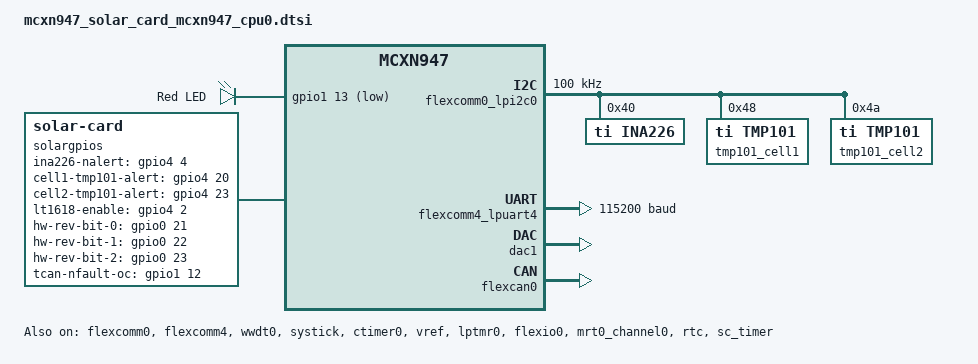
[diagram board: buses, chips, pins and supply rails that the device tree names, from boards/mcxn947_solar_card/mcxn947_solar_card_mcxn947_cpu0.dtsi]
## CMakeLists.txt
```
# SPDX-License-Identifier: Apache-2.0

cmake_minimum_required(VERSION 3.20.0)

list(APPEND BOARD_ROOT ${CMAKE_CURRENT_SOURCE_DIR})
set(BOARD "mcxn947_solar_card/mcxn947/cpu0")

set(VERSION_MAJOR "1")
set(VERSION_MINOR "0")
set(PATCHLEVEL "1")
set(VERSION_TWEAK "0")
set(EXTRAVERSION "00000000")

# force creation of new file each time when 'west build -p always' is done
file(REMOVE "${CMAKE_SOURCE_DIR}/VERSION")

find_package(Git QUIET REQUIRED)

execute_process(
    COMMAND "${GIT_EXECUTABLE}" rev-parse --short HEAD
    WORKING_DIRECTORY "${CMAKE_SOURCE_DIR}"
    RESULT_VARIABLE res
    OUTPUT_VARIABLE EXTRAVERSION
    ERROR_QUIET
    OUTPUT_STRIP_TRAILING_WHITESPACE)

set_property(GLOBAL APPEND
    PROPERTY CMAKE_CONFIGURE_DEPENDS
    "${CMAKE_SOURCE_DIR}/.git/index")

set(BOARD_FLASH_RUNNER "probe-rs")
set(BOARD_DEBUG_RUNNER "probe-rs")

#
# utilize settings to autogenerate a header file to adjust the build inside the C code
#
configure_file (
   "${CMAKE_SOURCE_DIR}/src/VERSION.in"
   "${CMAKE_SOURCE_DIR}/VERSION"
   )

find_package(Zephyr REQUIRED HINTS $ENV{ZEPHYR_BASE})

project(oresat_mcxn947_solar)

include_directories("${PROJECT_SOURCE_DIR}") # needed so c code can find this header

target_sources(app PRIVATE src/main.c src/gpios.c drivers/sensor/ti/tmp101/tmp101.c)

# Compile in various files depending on Kconfig values.
target_sources_ifdef(CONFIG_BLINK        app PRIVATE src/blink.c)
#target_sources_ifdef(CONFIG_I2C_SENSORS app PRIVATE src/i2c_sensor.c)
#target_sources_ifdef(CONFIG_DAC         app PRIVATE src/dac.c)
target_sources_ifdef(CONFIG_SOLAR        app PRIVATE src/solar.c)
target_sources_ifdef(CONFIG_CAN_INTF     app PRIVATE src/can.c)
target_sources_ifdef(CONFIG_CAN_INTF     app PRIVATE src/can_util.c)
target_sources_ifdef(CONFIG_CAN_INTF     app PRIVATE objdict/CO_OD.c)
zephyr_include_directories(objdict)
```

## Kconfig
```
# Copyright (c) 2024 Centro de Inovacao EDGE.
# SPDX-License-Identifier: Apache-2.0

menu "Oresat MCXN947 Solar Card"

config BLINK
	bool "Blink an LED"
	default y
	help
	  Enable the thread which blinks an LED.

config I2C_SENSORS
	bool "Enable monitoring I2C sensors"
	default y
	help
	  Enable reading from the ina226

config DAC_LT1618
	bool "Enable control of LT1618 sensor iADJ."
	default y
	help
	  Enable adjustable current control.

config SOLAR
	bool "Enable Solar Power Point Tracking"
	default y
	help
	  Enable the Maximum Power Point Tracking Algorithm.

if SOLAR

	config CHARACTERIZATION_SWEEP
		bool "Enable Solar Power Characterization Sweep"
		default n
		help
		  Interactively determine tracking constants in the lab.

endif

config CAN_INTF
	bool "Enable sending CAN packets."
	default y
	select CAN
	select CANOPENNODE
	select USE_STM32_HAL_FLASH if SOC_STM32F091XC
	select USE_STM32_HAL_FLASH_EX if SOC_STM32F091XC
	select USE_STM32_HAL_CAN if SOC_STM32F091XC
	help
	  Enable CAN interface and send data from CO_OD.

	if CAN_INTF && !SOC_STM32F091XC

		config MCUBOOT_ALLOWED
			bool "MCUboot allowed."
			default y
			select BOOTLOADER_MCUBOOT
			select MCUBOOT_GENERATE_UNSIGNED_IMAGE
			select FLASH
			select FLASH_MAP
			select STREAM_FLASH
			select IMG_MANAGER
			select MCUBOOT_GENERATE_CONFIRMED_IMAGE
			select CANOPENNODE_PROGRAM_DOWNLOAD
			help
			  Define helper symbol CONFIG_MCUBOOT_ALLOWED for all supported
			  architectures that have room for the required partitions in flash
			  and have those partitions defined in the device tree. This
			  eliminates the need for the user to either change prj.conf to
			  enable MCUBOOT or provide an EXTRA_CONF_FILE option to west that
			  names an overlay file.

		config CAN_ID_MUST_BE_SET
			bool "Do not contine if CAN node id not set."
			default y
			help
			  If enabled, do not perform normal functions if CAN node id
			  is not stored in settings.

	endif


endmenu

source "Kconfig.zephyr"
```

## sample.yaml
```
sample:
  name: Oresat Solar Card App
tests:
  apps.solar:
    tags:
      - LED
      - gpio
    filter: dt_enabled_alias_with_parent_compat("led0", "gpio-leds")
    depends_on: gpio
    harness: led
    integration_platforms:
      - frdm_k64f
```

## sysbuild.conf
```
SB_CONFIG_BOOTLOADER_MCUBOOT=y
SB_CONFIG_BOOT_SIGNATURE_TYPE_NONE=y
```

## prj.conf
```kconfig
CONFIG_GPIO=y
CONFIG_CONSOLE=y
CONFIG_UART_CONSOLE=y
CONFIG_STDOUT_CONSOLE=y
CONFIG_ORESAT_COMMON_LIB=y
CONFIG_BUILD_OUTPUT_HEX=y

CONFIG_SYSTEM_WORKQUEUE_STACK_SIZE=2048
CONFIG_MAIN_STACK_SIZE=2048
CONFIG_HEAP_MEM_POOL_SIZE=4096

CONFIG_HWINFO=y
CONFIG_I2C=y
CONFIG_SENSOR=y
CONFIG_SENSOR_ASYNC_API=y
CONFIG_I2C_SENSORS=y
CONFIG_I2C_MCUX_LPI2C_BUS_RECOVERY=y

CONFIG_DAC=y
CONFIG_DAC_LT1618=y

CONFIG_SOLAR=y

CONFIG_CHARACTERIZATION_SWEEP=n #for devel only! not flight!

# enable CAN data interface
CONFIG_CAN_INTF=y
CONFIG_CANOPENNODE_SDO_BUFFER_SIZE=889
CONFIG_CAN_DEFAULT_BITRATE=1000000
CONFIG_CANOPENNODE_SYNC_THREAD=n

# enable boot loader
CONFIG_MCUBOOT_ALLOWED=y

CONFIG_LOG=y
CONFIG_LOG_MODE_DEFERRED=y
CONFIG_LOG_MODE_IMMEDIATE=n
CONFIG_LOG_BUFFER_SIZE=20480
CONFIG_LOG_PRINTK=n
CONFIG_CBPRINTF_FP_SUPPORT=y

CONFIG_LOG_DEFAULT_LEVEL=3
CONFIG_SENSOR_LOG_LEVEL_INF=y
#CONFIG_KERNEL_LOG_LEVEL_INF=y
#CONFIG_DAC_LOG_LEVEL_INF=y
CONFIG_CANOPEN_LOG_LEVEL_ERR=y
CONFIG_CAN_LOG_LEVEL_ERR=y

CONFIG_ASSERT=y

CONFIG_DEVICE_DT_METADATA=y
CONFIG_REBOOT=y

# changes for settings
CONFIG_FLASH=y
CONFIG_FLASH_MAP=y
CONFIG_SETTINGS=y
CONFIG_SETTINGS_RUNTIME=y
CONFIG_NVS=y
CONFIG_SETTINGS_NVS=y
CONFIG_MPU_ALLOW_FLASH_WRITE=y

# NOTE: to set the card's CAN ID, use overlay_shell.conf

# enforce can ID cannot be default (use shell)
CONFIG_CAN_ID_MUST_BE_SET=n

CONFIG_I2C_SENSORS=n
#CONFIG_SHELL=y
#CONFIG_I2C_SHELL=y
```

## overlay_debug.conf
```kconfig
CONFIG_REBOOT=y
CONFIG_ASSERT=n
CONFIG_DEBUG=y

# deferred logging ensures logging has minimal affect on real-time
# responsiveness, but it consumes a lot of RAM and can easily lose
# log messages when debug logging is enabled
CONFIG_LOG_MODE_DEFERRED=n
CONFIG_LOG_MODE_IMMEDIATE=y

CONFIG_I2C_LOG_LEVEL_INF=y
CONFIG_SENSOR_LOG_LEVEL_INF=y
CONFIG_KERNEL_LOG_LEVEL_INF=y
#CONFIG_CANOPEN_LOG_LEVEL_DBG=y
#CONFIG_CAN_LOG_LEVEL_DBG=y

CONFIG_APPLICATION_INIT_PRIORITY=91
CONFIG_DEBUG_THREAD_INFO=y
CONFIG_THREAD_RUNTIME_STATS=y
CONFIG_DEBUG_OPTIMIZATIONS=y
CONFIG_COVERAGE=n

CONFIG_THREAD_ANALYZER=y
CONFIG_THREAD_ANALYZER_USE_PRINTK=y
CONFIG_THREAD_ANALYZER_AUTO=y
CONFIG_THREAD_ANALYZER_AUTO_INTERVAL=300

CONFIG_INIT_STACKS=y
CONFIG_STACK_SENTINEL=y
CONFIG_STACK_CANARIES=y
#CONFIG_HW_STACK_PROTECTION=y

CONFIG_TEST_RANDOM_GENERATOR=y

CONFIG_DEBUG_THREAD_INFO=y
CONFIG_THREAD_RUNTIME_STATS=y
CONFIG_DEBUG_OPTIMIZATIONS=y
CONFIG_COVERAGE=n

#CONFIG_DEBUG_COREDUMP=y
#CONFIG_DEBUG_COREDUMP_BACKEND_LOGGING=y
#CONFIG_DEBUG_COREDUMP_LOG_LEVEL_DBG=y
#CONFIG_DEBUG_COREDUMP_MEMORY_DUMP_THREADS=y
CONFIG_FAULT_DUMP=1
```

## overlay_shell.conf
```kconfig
# This is a special configuration to allow the shell to run in the serial terminal
# interface. It allows setting the CAN nodeid, for example.
# Build instructions:
#   west build -p -- -DEXTRA_CONF_FILE=overlay_shell.conf

CONFIG_LOG_MODE_DEFERRED=y
CONFIG_LOG_MODE_IMMEDIATE=n
CONFIG_LOG_BUFFER_SIZE=20480

CONFIG_SHELL=y
CONFIG_SHELL_LOG_BACKEND=y

# enable this to add i2c interface scanning, for example
#CONFIG_I2C_SHELL=y
```

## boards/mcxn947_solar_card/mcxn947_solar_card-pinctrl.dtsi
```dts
/*
 * Copyright 2024 NXP
 * SPDX-License-Identifier: Apache-2.0
 */


#include <nxp/mcx/MCXN947VNL-pinctrl.h>

&pinctrl {
	pinmux_flexcomm0_lpi2c: pinmux_flexcomm0_lpi2c {
		group0 {
			pinmux = <FC0_P0_PIO0_16>,
				<FC0_P1_PIO0_17>;
			slew-rate = "fast";
			drive-strength = "low";
			input-enable;
			bias-pull-up;
			drive-open-drain;
		};
	};

	pinmux_flexcomm4_lpuart: pinmux_flexcomm4_lpuart {
		group0 {
			pinmux = <FC4_P0_PIO1_8>,
				<FC4_P1_PIO1_9>;
			slew-rate = "fast";
			bias-pull-up;
			drive-strength = "low";
			input-enable;
		};
	};

	pinmux_dac1: pinmux_dac1 {
		group0 {
			pinmux = <DAC1_OUT_PIO4_3>;
			drive-strength = "low";
			slew-rate = "fast";
		};
	};

	pinmux_flexcan0: pinmux_flexcan0 {
		group0 {
			pinmux = <CAN0_TXD_PIO1_10>,
				<CAN0_RXD_PIO1_11>;
			slew-rate = "fast";
			drive-strength = "low";
			input-enable;
		};
	};

	pinmux_sctimer: pinmux_sctimer {
		group0 {
			pinmux = <SCT0_OUT0_PIO2_2>;
			slew-rate = "fast";
			drive-strength = "low";
			input-enable;
		};
	};
};
```

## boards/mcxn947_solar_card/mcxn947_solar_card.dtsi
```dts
/*
 * Copyright 2024 NXP
 *
 * SPDX-License-Identifier: Apache-2.0
 */

#include "mcxn947_solar_card-pinctrl.dtsi"
#include <zephyr/dt-bindings/i2c/i2c.h>
#include <zephyr/dt-bindings/input/input-event-codes.h>


/ {
	aliases{
		led0 = &red_led;
	};

	leds {
		compatible = "gpio-leds";
		red_led: led_1 {
			gpios = <&gpio1 13 GPIO_ACTIVE_LOW>;
			label = "Red LED";
			status = "okay";
		};
	};

	gpio_keys {
		compatible = "gpio-keys";
		user_button_2: button_0 {
			label = "User SW2";
			gpios = <&gpio0 23 (GPIO_ACTIVE_LOW | GPIO_PULL_UP)>;
			zephyr,code = <INPUT_KEY_0>;
			status = "disabled";
		};
		user_button_3: button_1 {
			label = "User SW3";
			gpios = <&gpio0 6 (GPIO_ACTIVE_LOW | GPIO_PULL_UP)>;
			zephyr,code = <INPUT_KEY_1>;
			status = "disabled";
		};
	};
};

&flexcomm1_lpspi1 {
	pinctrl-0 = <&pinmux_flexcomm1_lpspi>;
	pinctrl-names = "default";
	status = "disabled";
};

&flexcomm2_lpuart2 {
	current-speed = <115200>;
	pinctrl-0 = <&pinmux_flexcomm2_lpuart>;
	pinctrl-names = "default";
	status = "disabled";
};

&flexcomm0_lpi2c0 {
	pinctrl-0 = <&pinmux_flexcomm0_lpi2c>;
	pinctrl-names = "default";
	clock-frequency = <I2C_BITRATE_STANDARD>;
	status = "okay";

	ina226: ina226@40 {
		compatible = "ti,ina226";
		reg = <0x40>;
        operating-mode = "Shunt and Bus, Continuous";
		current-lsb-microamps = <20>; //pulled from chibios app
		rshunt-micro-ohms = <100000>;
		status = "okay";
	};
	tmp101_cell1: tmp108@48 {
		compatible = "ti,tmp108";
		reg = <0x48>;
		status = "okay";
	};
	tmp101_cell2: tmp108@4a {
		compatible = "ti,tmp108";
		reg = <0x4a>;
		status = "okay";
	};
};

&flexcomm4_lpuart4 {
	current-speed = <115200>;
	pinctrl-0 = <&pinmux_flexcomm4_lpuart>;
	pinctrl-names = "default";
	status = "okay";
};

/* SmartDMA is used for video driver on this board */
&smartdma {
	/* Shields do not enable video-sdma parent node so enable it by default */
	program-mem = <0x4000000>;
	status = "disabled";

	video_sdma: video-sdma {
		compatible = "nxp,video-smartdma";
		pinctrl-0 = <&pinmux_smartdma_camera>;
		pinctrl-names = "default";
		vsync-pin = <4>;
		hsync-pin = <11>;
		pclk-pin = <5>;
		status = "disabled";
	};
};

/*
 * MCXN947 board uses OS timer as the kernel timer
 * In case we need to switch to SYSTICK timer, then
 * replace &os_timer with &systick
 */
&os_timer {
	status = "disabled";
};

&systick {
	status = "okay";
};

&sram {
	sramg: memory@20050000 {
		compatible = "mmio-sram";
		reg = <0x20050000 DT_SIZE_K(64)>;
	};
	sramh: memory@20060000 {
		compatible = "mmio-sram";
		reg = <0x20060000 DT_SIZE_K(32)>;
	};
};

&flash {
	partitions {
		compatible = "fixed-partitions";
		#address-cells = <1>;
		#size-cells = <1>;

		/*
		 * Partition sizes must be aligned
		 * to the flash memory sector size of 8KB.
		 */
		boot_partition: partition@0 {
			label = "mcuboot";
			reg = <0x00000000 DT_SIZE_K(80)>;
		};
		slot0_partition: partition@14000 {
			label = "image-0";
			reg = <0x00014000 DT_SIZE_K(984)>;
		};
		slot1_partition: partition@10A000 {
			label = "image-1";
			reg = <0x0010A000 DT_SIZE_K(984)>;
		};
		/* storage_partition is placed in WINBOND flash memory*/
	};
};

&flexspi {
	pinctrl-0 = <&pinmux_flexspi>;
	pinctrl-names = "default";
	ahb-prefetch;
	ahb-bufferable;
	ahb-cacheable;
	ahb-read-addr-opt;
	combination-mode;
	rx-clock-source = <1>;
	status = "disabled";
};

&dac0 {
	pinctrl-0 = <&pinmux_dac0>;
	pinctrl-names = "default";
};

&dac1 {
	pinctrl-0 = <&pinmux_dac1>;
	pinctrl-names = "default";
};

&sai1 {
	pinctrl-0 = <&pinmux_sai1>;
	pinctrl-names = "default";
};

&sai0 {
	pinctrl-0 = <&pinmux_sai0>;
	pinctrl-names = "default";
};

&enet {
	pinctrl-0 = <&pinmux_enet_qos>;
	pinctrl-names = "default";
};

&enet_mac {
	phy-connection-type = "rmii";
	zephyr,random-mac-address;
	phy-handle = <&phy>;
};

&enet_mdio {
	phy: ethernet-phy@0 {
		compatible = "ethernet-phy";
		reg = <0>;
		status = "disabled";
	};
};

&flexpwm1_pwm0 {
	pinctrl-0 = <&pinmux_flexpwm1_pwm0>;
	pinctrl-names = "default";
};

&usdhc0 {
	pinctrl-0 = <&pinmux_usdhc0>;
	pinctrl-1 = <&pinmux_usdhc0>;
	pinctrl-2 = <&pinmux_usdhc0>;
	cd-gpios = <&gpio2 1 GPIO_ACTIVE_LOW>;
	pinctrl-names = "default", "slow", "med";
	no-1-8-v;
};

&lpadc0 {
	pinctrl-0 = <&pinmux_lpadc0>;
	pinctrl-names = "default";
	status = "disabled";
};

zephyr_mipi_dbi_parallel: &flexio0_lcd {
	/* DMA channels 0, muxed to FlexIO TX */
	dmas = <&edma0 0 61>;
	dma-names = "tx";
	shifters-count = <8>;
	timers-count = <1>;
	enwr-pin = <1>;
	rd-pin = <0>;
	data-pin-start = <16>;
	reset-gpios = <&gpio4 7 GPIO_ACTIVE_HIGH>;
	cs-gpios = <&gpio0 12 GPIO_ACTIVE_HIGH>;
	rs-gpios = <&gpio0 7 GPIO_ACTIVE_HIGH>;
	pinctrl-0 = <&pinmux_flexio_lcd>;
	pinctrl-names = "default";
	status = "disabled";
};

&lpcmp0 {
	pinctrl-0 = <&pinmux_lpcmp0>;
	pinctrl-names = "default";
};

&i3c1 {
	pinctrl-0 = <&pinmux_i3c1>;
	pinctrl-names = "default";
	status = "disabled";
};

&flexcan0 {
	pinctrl-0 = <&pinmux_flexcan0>;
	pinctrl-names = "default";
};

&sc_timer {
	pinctrl-0 = <&pinmux_sctimer>;
	pinctrl-names = "default";
};

dvp_20pin_interface: &video_sdma {
	status = "disabled";
};
```

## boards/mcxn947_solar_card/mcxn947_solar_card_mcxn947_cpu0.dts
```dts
/dts-v1/;

#include "mcxn947_solar_card_mcxn947_cpu0.dtsi"
#include "mcxn947_solar_card-pinctrl.dtsi"

/ {
	model = "NXP MCXN947 solar card";
	compatible = "nxp,mcxn947", "nxp,mcx";
};
```

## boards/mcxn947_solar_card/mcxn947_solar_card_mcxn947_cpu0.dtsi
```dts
/*
 * Copyright 2024 NXP
 *
 * SPDX-License-Identifier: Apache-2.0
 */

/* Common dts file to enable supported features for CPU 0.
 * This file is included by both the default variant
 * which is run from internal flash and the QSPI variant.
 */
/dts-v1/;

#include <nxp/mcx/nxp_mcxn94x.dtsi>
#include <zephyr/dt-bindings/i2c/i2c.h>
#include <zephyr/dt-bindings/gpio/gpio.h>

/ {
	cpus {
		/delete-node/ cpu@1;
	};

	chosen {
		zephyr,sram = &sram0;
		zephyr,flash = &flash;
		zephyr,flash-controller = &fmu;
		zephyr,code-partition = &slot0_partition;
		zephyr,uart-mcumgr = &flexcomm4_lpuart4;
		zephyr,console = &flexcomm4_lpuart4;
		zephyr,shell-uart = &flexcomm4_lpuart4;
		zephyr,canbus = &flexcan0;
		zephyr,code-cpu1-partition = &slot1_partition;
	};

	aliases{
		led0 = &red_led;
		watchdog0 = &wwdt0;
		rtc = &rtc;
	};

	leds {
		compatible = "gpio-leds";
		red_led: led_1 {
			gpios = <&gpio1 13 GPIO_ACTIVE_LOW>;
			label = "Red LED";
			status = "okay";
		};
	};

	solargpios: solar-gpios {
		compatible = "solar-card";
		ina226-nalert-gpios = <&gpio4 4 0>;
		cell1-tmp101-alert-gpios = <&gpio4 20 0>;
		cell2-tmp101-alert-gpios = <&gpio4 23 0>;
		lt1618-enable-gpios = <&gpio4 2 GPIO_ACTIVE_HIGH>;

		hw-rev-bit-0-gpios = <&gpio0 21 0>; /* in -- enable pull up in init code */
		hw-rev-bit-1-gpios = <&gpio0 22 0>; /* in -- enable pull up in init code */
		hw-rev-bit-2-gpios = <&gpio0 23 0>; /* in -- enable pull up in init code */
		tcan-nfault-oc-gpios = <&gpio1 12 0>; /* in; only on board v1.3 */
		tcan-shdn-gpios = <&gpio1 12 0>; /* in; only on board v1.2 */
		tcan-silent-gpios = <&gpio1 14 0>;	  /* out; only on board v1.2+ */
	};

	zephyr,user {
		dac1 = <&dac1>;
		dac-channel-id = <0>;
		dac-resolution = <12>;
		status = "okay";
	};
};

&flexcomm0 {
	status = "okay";
};

&flexcomm0_lpi2c0 {
	pinctrl-0 = <&pinmux_flexcomm0_lpi2c>;
	pinctrl-names = "default";
	clock-frequency = <I2C_BITRATE_STANDARD>;
	status = "okay";

	ina226: ina226@40 {
		compatible = "ti,ina226";
		reg = <0x40>;
		operating-mode = "Shunt and Bus, Continuous";
		current-lsb-microamps = <20>; //pulled from chibios app
		rshunt-micro-ohms = <100000>;
        vbus-conversion-time-us = <588>;
        vshunt-conversion-time-us = <588>;
        avg-count = <1>;
		status = "okay";
	};
	tmp101_cell1: tmp101@48 {
		compatible = "ti,tmp101";
		reg = <0x48>;
		status = "okay";
	};
	tmp101_cell2: tmp101@4a {
		compatible = "ti,tmp101";
		reg = <0x4a>;
		status = "okay";
	};
};

&flexcomm4 {
	status = "okay";
};

&flexcomm4_lpuart4 {
	current-speed = <115200>;
	pinctrl-0 = <&pinmux_flexcomm4_lpuart>;
	pinctrl-names = "default";
	status = "okay";
};

&dac1 {
	pinctrl-0 = <&pinmux_dac1>;
	pinctrl-names = "default";
	status = "okay";
};

&flexcan0 {
	pinctrl-0 = <&pinmux_flexcan0>;
	pinctrl-names = "default";
	status = "okay";
};

/*
 * Default for this board is to allocate SRAM0-5 to cpu0 but the
 * application can have an application specific device tree to
 * allocate the SRAM0-7 differently.
 *
 * For example, SRAM0-6 could be allocated to cpu0 with only SRAM7
 * for cpu1. This would require the value of sram0 to have a DT_SIZE_K
 * of 384. You would have to make updates to cpu1 sram settings as well.
 */
&sram0 {
	compatible = "mmio-sram";
	reg = <0x20000000 DT_SIZE_K(320)>;
};

&sram {
	sramg: memory@20050000 {
		compatible = "mmio-sram";
		reg = <0x20050000 DT_SIZE_K(64)>;
	};
	sramh: memory@20060000 {
		compatible = "mmio-sram";
		reg = <0x20060000 DT_SIZE_K(32)>;
	};
};

&flash {
	partitions {
		compatible = "fixed-partitions";
		#address-cells = <1>;
		#size-cells = <1>;

		/*
		 * Partition sizes must be aligned
		 * to the flash memory sector size of 8KB.
		 */
		boot_partition: partition@0 {
			label = "mcuboot";
			reg = <0x00000000 DT_SIZE_K(80)>;
		};
		slot0_partition: partition@14000 {
			label = "image-0";
			reg = <0x00014000 DT_SIZE_K(968)>;
		};
		slot1_partition: partition@10A000 {
			label = "image-1";
			reg = <0x0010A000 DT_SIZE_K(968)>;
		};
		storage_partition: partition@1fc000 {
			label = "storage";
			reg = <0x001fc000 DT_SIZE_K(16)>;
		};
	};
};

&mbox {
	status = "okay";
};

&gpio4 {
	status = "okay";
};

&gpio1 {
	status = "okay";
};

&gpio0 {
	status = "okay";
};

&gpio2 {
	status = "okay";
};

&edma0 {
	status = "okay";
};

&wwdt0 {
	status = "okay";
};

&systick {
	status = "okay";
};

&ctimer0 {
	status = "okay";
};

&vref {
	status = "okay";
};

&lptmr0 {
	status = "okay";
};

&flexio0 {
	status = "okay";
};

&mrt0_channel0 {
	status = "okay";
};

&rtc {
	status = "okay";
};

&sc_timer {
	pinctrl-0 = <&pinmux_sctimer>;
	pinctrl-names = "default";
	status = "okay";
};

&enet {
	status = "disabled";
};
```

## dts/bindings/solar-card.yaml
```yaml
# Oresat solar card

description: Oresat solar card

compatible: "solar-card"

properties:
  ina226-nalert-gpios:
    type: phandle-array
    required: true
    description: Input of active low alert from INA226 device.

  cell1-tmp101-alert-gpios:
    type: phandle-array
    required: true
    description: Input of active low alert from cell1 tmp101 device.

  cell2-tmp101-alert-gpios:
    type: phandle-array
    required: true
    description: Input of active low alert from cell2 tmp101 device.

  lt1618-enable-gpios:
    type: phandle-array
    required: true
    description: Output to enable the LT1618 device.

  hw-rev-bit-0-gpios:
    type: phandle-array
    required: true
    description: GPIO input or output.

  hw-rev-bit-1-gpios:
    type: phandle-array
    required: true
    description: GPIO input or output.

  hw-rev-bit-2-gpios:
    type: phandle-array
    required: true
    description: GPIO input or output.

  tcan-nfault-oc-gpios:
    type: phandle-array
    required: true
    description: GPIO input or output.

  tcan-shdn-gpios:
    type: phandle-array
    required: true
    description: GPIO input or output.

  tcan-silent-gpios:
    type: phandle-array
    required: true
    description: GPIO input or output.
```

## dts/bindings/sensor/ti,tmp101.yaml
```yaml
# Based on zephyr/drivers/sensor/ti/tmp108/Kconfig, originally liscenced under Apache-2.0

description: |
    TMP101 Digital Temperature Sensor.  See more info at
    https://www.ti.com/product/TMP101

compatible: "ti,tmp101"

include: [sensor-device.yaml, i2c-device.yaml]

properties:
  alert-gpios:
    type: phandle-array
    description: |
      Identifies the ALERT signal produced by the sensor. 
      The ALERT signal's polarity is dependent on the sensor's config.
```

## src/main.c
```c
/**
 * main.c
 *
 * Simple main that only logs a bootup message. The remainder
 * of the demos are implemented as independent threads
 * in blink.c, dac.c, i2c_sensor.c, and adc.c.
 *
 * These can be disabled at compile time by adding:
 *   CONFIG_BLINK=n
 * for example, to prj.conf. See Kconfig for the options or run
 * west build -t menuconfig for an interacive configuration
 * editor.
 */

#include <zephyr/kernel.h>
#include <zephyr/drivers/hwinfo.h>
#include <zephyr/logging/log.h>
#include <version.h>
#include <app_version.h>

LOG_MODULE_REGISTER(oresat_mcxn947_solar, CONFIG_LOG_DEFAULT_LEVEL);

/** Dump Hardware Info
 *    Show the unique processor id and the reason for reset.
 *
 *    This requires:
 *    #include <zephyr/drivers/hwinfo.h>
 *    prj.conf:
 *    CONFIG_HWINFO=y
 *    Names of reset cause bits defined in same header; e.g.
 *    RESET_POR
 **/
static void dump_hwinfo(void)
{
	uint8_t hwid[32] = {0};
	uint32_t reset_cause;
	int reset_cause_ret;
	int hwid_len;

	hwid_len = hwinfo_get_device_id(hwid,sizeof(hwid)); // returns size of the device id
	reset_cause_ret = hwinfo_get_reset_cause(&reset_cause);
	if (!reset_cause_ret) {
		hwinfo_clear_reset_cause();
	}

	if (hwid_len < 0) {
		LOG_ERR("    Chip     HWID: UNNKOWN (%d", hwid_len);
	} else {
		LOG_HEXDUMP_INF(hwid, hwid_len, "    Chip     HWID: ");
	}
	if (reset_cause_ret < 0) {
		LOG_ERR("      Reset Cause: UNKNOWN (%d)", reset_cause_ret);
	} else {
		LOG_INF("      Reset Cause: 0x%08x", reset_cause);
	}
}

int main(void)
{
	LOG_INF("Oresat MCXN947 Solar Board App");
	LOG_INF("   Oresat   Board: %s", CONFIG_BOARD_TARGET);
	dump_hwinfo();
	LOG_INF("   App    Version: %s", APP_VERSION_STRING);
	LOG_INF("   Zephyr Version: %s", KERNEL_VERSION_STRING);

	return 0;
}
```

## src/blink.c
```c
/**
 * blink.c
 *
 * Code came from https://github.com/Blen-E/pracblink, which
 * originally from zephyr/samples/basic/blinky.
 *
 * Modified slightly to run as a thread and use logging.
 */
#include <stdio.h>
#include <zephyr/kernel.h>
#include <zephyr/drivers/gpio.h>
#include <zephyr/sys/printk.h>
#include <zephyr/sys/__assert.h>

#include <zephyr/device.h>
#include <zephyr/devicetree.h>
#include <zephyr/logging/log.h>

LOG_MODULE_REGISTER(oresat_blink, LOG_LEVEL_INF);

/* size of stack area used by each thread */
#define STACKSIZE 1024

/* scheduling priority used by each thread */
#define PRIORITY 7

/* 1000 msec = 1 sec */
#define LED_SLEEP_TIME_MS   1000

/* The devicetree node identifier for the "led0" alias. */
#define LED0_NODE DT_ALIAS(led0)

static int handle_blink(void)
{
	int ret;
	const struct gpio_dt_spec led = GPIO_DT_SPEC_GET(LED0_NODE, gpios);

	LOG_INF("Starting blink demo");

	/* Can we use the LED? */
	if (!device_is_ready(led.port)) {
		LOG_ERR("LED device is not ready");
		return -1;
	}

	/* Set it up */
	ret = gpio_pin_configure_dt(&led, GPIO_OUTPUT_ACTIVE);
	if (ret < 0) {
		LOG_ERR("Could not configure the LED GPIO pin: %d", ret);
		return ret;
	}

	/* Thread loop */
	while (1) {
		gpio_pin_toggle_dt(&led);
		LOG_DBG("The light is blinking!");
		k_msleep(LED_SLEEP_TIME_MS);
	}
	return 0;
}

K_THREAD_DEFINE(blink_id, STACKSIZE, handle_blink, NULL, NULL, NULL, PRIORITY, 0, 0);
```

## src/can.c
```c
#include <zephyr/kernel.h>
#include <zephyr/device.h>
#include <zephyr/sys/reboot.h>
#include <zephyr/sys/printk.h>
#include <zephyr/drivers/gpio.h>
#include <zephyr/dfu/mcuboot.h>
#include <zephyr/settings/settings.h>
#include <zephyr/logging/log.h>
#include <canopennode.h>
#include <CO_OD.h>
#include <oresat.h>

#include "can_util.h"
#include "gpios.h"

LOG_MODULE_REGISTER(can_thread, LOG_LEVEL_INF);

#define CAN_INTERFACE (DEVICE_DT_GET(DT_CHOSEN(zephyr_canbus)))
#define CAN_BITRATE (DT_PROP_OR(DT_CHOSEN(zephyr_canbus), bitrate, \
					 DT_PROP_OR(DT_CHOSEN(zephyr_canbus), bus_speed, \
								CONFIG_CAN_DEFAULT_BITRATE) / 1000))

#define CAN_THREAD_STACK_SIZE 2048
#define CAN_THREAD_PRIORITY 0
#define CAN_STARTUP_DELAY_MS 250

#define MAX_FAULT_PRINTS 10

extern const k_tid_t can_id;

static bool run_self_tests(void)
{
	LOG_INF("Running system self-tests...");

	// Placeholder for board/app-specific checks
	bool tests_passed = true;

	return tests_passed;
}

static void handle_can(void *p1, void *p2, void *p3)
{
	int err;
	uint16_t timeout;
	uint32_t elapsed = 0U;
	int64_t timestamp;
	CO_NMT_reset_cmd_t reset = CO_RESET_NOT;
	struct canopen_context can = {.dev = CAN_INTERFACE};
	uint8_t node_id = DEFAULT_NODE_ID;
	int print_fault = 0;

	k_thread_name_set(can_id, "can_thread");
	k_sleep(K_MSEC(CAN_STARTUP_DELAY_MS));

	LOG_INF("Starting CAN thread");

	err = init_gpios();
	if (err) {
		// We will not know what hardware we are running on for certain.
		// But for CAN, that just means we will assume we cannot query the CAN hardware fault line,
		// nor can we control CAN silence.
		LOG_WRN("Could not initialize general GPIOs: %d", err);
	}

	err = init_can_gpios();
	if (err) {
		// Not a fatal error -- GPIOs are optional (hardware fault reporting and sleep control)
		LOG_WRN("Error initializing CAN GPIOs: %d", err);
	}

	err = settings_subsys_init();
	if (err) {
		// We should not continue because we will not be able to use the proper CAN node id,
		// nor, if the shell is enabled, will we be able to store a selected id.
		LOG_ERR("settings subsys initialization: fail (err %d)", err);
		goto fatal_error;
	} else {
		node_id = load_node_id();
		if (node_id == DEFAULT_NODE_ID) {
			LOG_WRN("CAN node id has not been set!");
#if defined(CONFIG_SHELL)
			LOG_WRN("--> Use shell command to set (type help).");
#else
			LOG_WRN("--> Firmware not built with CONFIG_SHELL=y. Rebuild and flash to update CAN node id.");
#endif
			if (IS_ENABLED(CONFIG_CAN_ID_MUST_BE_SET)) {
				LOG_ERR("Halting.");
				goto fatal_error;
			}
		}
	}

	// Confirm a newly booted MCUboot image if self-tests pass
	if (!IS_ENABLED(CONFIG_BOOTLOADER_MCUBOOT)) {
		/* do nothing */
	} else if (!boot_is_img_confirmed()) {
		LOG_INF("New firmware detected. Pending confirmation.");

		if (run_self_tests()) {
			LOG_INF("Self-tests passed. Confirming image.");
			int rc = boot_write_img_confirmed();
			if (rc < 0) {
				LOG_ERR("Failed to confirm MCUboot image: %d", rc);
			}
		} else {
			LOG_ERR("Self-tests failed.");
			k_msleep(500); // Let logs flush
#if defined(CONFIG_REBOOT)
			LOG_ERR("Rebooting to revert firmware...");
			sys_reboot(SYS_REBOOT_COLD);
#else
			LOG_ERR("Please reboot to revert firmware.");
#endif
		}
	} else {
		LOG_INF("Firmware already confirmed.");
	}

	oresat_fix_pdo_cob_ids(node_id);

	LOG_DBG("Opening CAN device");
	if (!device_is_ready(can.dev)) {
		LOG_ERR("CAN interface is not ready");
		goto fatal_error;
	}

	set_can_normal(); // if using a newer board, tell the TCAN337 to not be silent

	LOG_INF("Starting CANopenNode (node_id=0x%02x, bitrate=%u kbps)",
			(unsigned)node_id, (unsigned)CAN_BITRATE);

	while (reset != CO_RESET_APP) {
		elapsed = 0U;

		err = CO_init(&can, node_id, CAN_BITRATE);
		if (err != CO_ERROR_NO) {
			LOG_ERR("CO_init failed (err = %d)", err);
			goto fatal_error;
		}

		if (IS_ENABLED(CONFIG_BOOTLOADER_MCUBOOT)) {
			canopen_program_download_attach(CO->NMT, CO->SDO[0], CO->em);
		}
		CO_CANsetNormalMode(CO->CANmodule[0]);

		LOG_INF("Waiting for CANopen requests...");

		while (true) {
			bool_t syncWas = false;

			timeout = 1U;
			timestamp = k_uptime_get();

			if (get_can_fault()) {
				// TODO: should we do anything, or is it caught by CO_isError() below?
				// Investigate and modify if needed.
				if (print_fault < MAX_FAULT_PRINTS) {
					print_fault++;
					LOG_WRN("CAN HW FAULT");
				}
			} else {
				print_fault = 0; // ensure we print spurious errors mixed with normal operation
			}

			if (CO_isError(CO->em, CO_EM_CAN_TX_OVERFLOW)) {
				CO_errorReset(CO->em, CO_EM_CAN_TX_OVERFLOW, 111);
			}

			reset = CO_process(CO, (uint16_t)elapsed, &timeout);
			if (reset != CO_RESET_NOT) {
				break;
			}

			if (timeout > 0) {
				/* Read inputs */
				CO_process_RPDO(CO, syncWas);

				/* Write outputs */
				CO_process_TPDO(CO, syncWas, timeout * 1000U);

				k_sleep(K_MSEC(timeout));
				elapsed = (uint32_t)k_uptime_delta(&timestamp);
			} else {
				elapsed = 0U;
			}
		}
		if (reset == CO_RESET_COMM) {
			LOG_INF("Resetting communication");
		}
	}

	// The CAN host asked us to reset ourselves. Clean up and then do so (if enabled in this build).
	CO_delete(&can);
#if defined(CONFIG_REBOOT)
	sys_reboot(SYS_REBOOT_COLD);
#endif

fatal_error:
	k_msleep(1000);
	__ASSERT(false, "Fatal error");
}

K_THREAD_DEFINE(can_id, CAN_THREAD_STACK_SIZE, handle_can, NULL, NULL, NULL, CAN_THREAD_PRIORITY, 0, 0);
```

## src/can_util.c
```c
#include <zephyr/kernel.h>
#include <zephyr/logging/log.h>
#include <zephyr/settings/settings.h>
#include <zephyr/shell/shell.h>

#include "can_util.h"

LOG_MODULE_REGISTER(can_util, CONFIG_CAN_LOG_LEVEL);

uint8_t load_node_id(void)
{
	int rc;
	uint8_t node_id = 0;

	settings_load();

	rc = settings_load_one("node_id", (void *)&node_id, sizeof(node_id));
	if (rc < 0) {
		LOG_ERR("Error loading node_id from settings: %d", rc);
	}
	if (!node_id) {
		node_id = DEFAULT_NODE_ID;
	}
	return node_id;
}

int store_node_id(uint8_t node_id)
{
	int rc;

	rc = settings_save_one("node_id", &node_id, sizeof(node_id));
	if (rc < 0) {
		LOG_ERR("Error saving node_id to settings: %d", rc);
	}
	return rc;
}

#if defined(CONFIG_SHELL)
static int cmd_node_id(const struct shell *sh, size_t argc, char **argv)
{
	uint8_t node_id = load_node_id();

	if (argc < 2) {
		shell_print(sh, "Current CAN node id: %u (0x%02x)", node_id, node_id);
		if (node_id == DEFAULT_NODE_ID) {
			shell_warn(sh, "CAN node id is not set! Using default. Likely to conflict with another card.");
		}
	} else {
		node_id = atoi(argv[1]);
		if (store_node_id(node_id) < 0) {
			shell_error(sh, "Unable to store CAN node id %u (0x%02x)", node_id, node_id);
		} else {
			shell_print(sh, "CAN node id %u (0x%02x) stored.", node_id, node_id);
		}
	}

	return 0;
}

SHELL_CMD_ARG_REGISTER(nodeid, NULL, "CAN node id [<new id value>]", cmd_node_id, 1, 2);
#endif
```

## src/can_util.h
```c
#if !defined(_CAN_UTIL_H_)
#define _CAN_UTIL_H_

#define DEFAULT_NODE_ID 0x7C

uint8_t load_node_id(void);
int store_node_id(uint8_t node_id);

#endif
```

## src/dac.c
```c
/**
 * dac.c
 *
 * Original code came from zephyr/samples/driver/dac.
 *
 * Modified slightly to run as a thread and use logging.
 */
#include <stdio.h>
#include <zephyr/kernel.h>
#include <zephyr/sys/printk.h>
#include <zephyr/sys/__assert.h>

#include <zephyr/device.h>
#include <zephyr/devicetree.h>
#include <zephyr/drivers/sensor.h>
#include <zephyr/drivers/sensor_data_types.h>
#include <zephyr/rtio/rtio.h>
#include <zephyr/dsp/print_format.h>
#include <zephyr/drivers/dac.h>
#include <zephyr/drivers/adc.h>
#include <zephyr/logging/log.h>

LOG_MODULE_REGISTER(oresat_dac_ina226, CONFIG_DAC_LOG_LEVEL);

/* size of stack area used by each thread */
#define STACKSIZE 1024

/* scheduling priority used by each thread */
#define PRIORITY_DAC 6

#define ZEPHYR_USER_NODE DT_PATH(zephyr_user)

#if (DT_NODE_HAS_PROP(ZEPHYR_USER_NODE, dac1) && \
	DT_NODE_HAS_PROP(ZEPHYR_USER_NODE, dac_channel_id) && \
	DT_NODE_HAS_PROP(ZEPHYR_USER_NODE, dac_resolution))
#define DAC_NODE DT_PHANDLE(ZEPHYR_USER_NODE, dac1)
#define DAC_CHANNEL_ID DT_PROP(ZEPHYR_USER_NODE, dac_channel_id)
#define DAC_RESOLUTION DT_PROP(ZEPHYR_USER_NODE, dac_resolution)
#else
#error "Unsupported board: see README and check /zephyr,user node"
#define DAC_NODE DT_INVALID_NODE
#define DAC_CHANNEL_ID 0
#define DAC_RESOLUTION 0
#endif

static int handle_dac(void)
{
	int ret;
	const struct device *const dac_dev = DEVICE_DT_GET(DAC_NODE);
	const struct dac_channel_cfg dac_ch_cfg = {
		.channel_id  = DAC_CHANNEL_ID,
		.resolution  = DAC_RESOLUTION,
	#if defined(CONFIG_DAC_BUFFER_NOT_SUPPORT)
		.buffered = false,
	#else
		.buffered = true,
	#endif /* CONFIG_DAC_BUFFER_NOT_SUPPORT */
	};

	LOG_INF("Starting DAC demo");

	/* Can we use the DAC? */
	if (!device_is_ready(dac_dev)) {
		LOG_ERR("DAC device %s is not ready", dac_dev->name);
		return -1;
	}

	/* Set it up */
	ret = dac_channel_setup(dac_dev, &dac_ch_cfg);
	if (ret != 0) {
		LOG_ERR("Setting up of DAC channel failed with code %d", ret);
		return ret;
	}

	/* Number of valid DAC values, e.g. 4096 for 12-bit DAC */
	const int dac_values = 1U << DAC_RESOLUTION;
	/*
	 * 100 usec sleep leads to about 0.4 sec signal period for 12-bit
	 * DACs. For DACs with lower resolution, sleep time needs to
	 * be increased.
	 */
	const int sleep_time = (4096 / dac_values > 0 ? 4096 / dac_values : 1) * 100;

	LOG_DBG("Generating sawtooth signal at DAC channel %d.", DAC_CHANNEL_ID);
	LOG_DBG("Number of DAC samples per cycle: %d, sleep time per sample (us): %d",
		   dac_values, sleep_time);
	int cycle = 0;

	while (1) {
		for (int i = 0; i < dac_values; i++) {
			ret = dac_write_value(dac_dev, DAC_CHANNEL_ID, i);
			if (ret != 0) {
				LOG_ERR("dac_write_value() failed with code %d", ret);
				return ret;
			}
			k_sleep(K_USEC(sleep_time));
		}
		LOG_INF("Cycle %u", ++cycle);
	}
	return 0;
}

K_THREAD_DEFINE(dac_id, STACKSIZE, handle_dac, NULL, NULL, NULL, PRIORITY_DAC, 0, 0);
```

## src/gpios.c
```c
#include <zephyr/kernel.h>

#include <zephyr/device.h>
#include <zephyr/devicetree.h>
#include <zephyr/drivers/gpio.h>
#include <zephyr/logging/log.h>
#if defined(CONFIG_CAN)
#include <canopennode.h>
#endif

#include "gpios.h"

LOG_MODULE_REGISTER(gpios, CONFIG_LOG_DEFAULT_LEVEL);

/* === GPIO data === */
#define BP_NODE DT_NODELABEL(solargpios)

static const struct gpio_dt_spec ina226_nalert = GPIO_DT_SPEC_GET(BP_NODE, ina226_nalert_gpios);
static const struct gpio_dt_spec cell1_tmp101_alert = GPIO_DT_SPEC_GET(BP_NODE, cell1_tmp101_alert_gpios);
static const struct gpio_dt_spec cell2_tmp101_alert = GPIO_DT_SPEC_GET(BP_NODE, cell2_tmp101_alert_gpios);
static const struct gpio_dt_spec lt1618_enable = GPIO_DT_SPEC_GET(BP_NODE, lt1618_enable_gpios);
const struct gpio_dt_spec hw_rev_bit_0 = GPIO_DT_SPEC_GET(BP_NODE, hw_rev_bit_0_gpios);
const struct gpio_dt_spec hw_rev_bit_1 = GPIO_DT_SPEC_GET(BP_NODE, hw_rev_bit_1_gpios);
const struct gpio_dt_spec hw_rev_bit_2 = GPIO_DT_SPEC_GET(BP_NODE, hw_rev_bit_2_gpios);
const struct gpio_dt_spec tcan_nfault_oc = GPIO_DT_SPEC_GET(BP_NODE, tcan_nfault_oc_gpios); // SHDN on the TCAN330, FAULT on the TCAN337
const struct gpio_dt_spec tcan_shutdown = GPIO_DT_SPEC_GET(BP_NODE, tcan_shdn_gpios); // SHDN on the TCAN330, FAULT on the TCAN337
const struct gpio_dt_spec tcan_silent = GPIO_DT_SPEC_GET(BP_NODE, tcan_silent_gpios);

static unsigned raw_board_rev = HW_REV_UNKNOWN;

int init_gpios(void)
{
	int ret;
	int err = 0;
	static bool initialized; // make idempotent

	if (initialized) {
		return 0;
	}
	initialized = true;

	ret = gpio_pin_configure_dt(&ina226_nalert, GPIO_INPUT);
	if (ret) {
		err = ret;
	}
	ret = gpio_pin_configure_dt(&cell1_tmp101_alert, GPIO_INPUT);
	if (ret) {
		err = ret;
	}
	ret = gpio_pin_configure_dt(&cell2_tmp101_alert, GPIO_INPUT);
	if (ret) {
		err = ret;
	}
	ret = gpio_pin_configure_dt(&lt1618_enable, GPIO_OUTPUT_ACTIVE); // enable the LT1618
	if (ret) {
		err = ret;
	}

	ret = gpio_pin_configure_dt(&hw_rev_bit_0, GPIO_INPUT | GPIO_PULL_UP);
	if (ret) {
		LOG_ERR("Could not configure hw_rev_bit_0 as input with pull up: %d", ret);
		err = ret;
	}
	ret = gpio_pin_configure_dt(&hw_rev_bit_1, GPIO_INPUT | GPIO_PULL_UP);
	if (ret) {
		LOG_ERR("Could not configure hw_rev_bit_1 as input with pull up: %d", ret);
		err = ret;
	}
	ret = gpio_pin_configure_dt(&hw_rev_bit_2, GPIO_INPUT | GPIO_PULL_UP);
	if (ret) {
		LOG_ERR("Could not configure hw_rev_bit_2 as input with pull up: %d", ret);
		err = ret;
	}

	raw_board_rev = gpio_pin_get_dt(&hw_rev_bit_0) << 0 |
				gpio_pin_get_dt(&hw_rev_bit_1) << 1 |
				gpio_pin_get_dt(&hw_rev_bit_2) << 2;

	LOG_INF("Board Rev %u", get_board_hw_rev());

	return err;
}

bool get_ina226_alert(void)
{
	return gpio_pin_get_dt(&ina226_nalert) != 0; // high == fault
}

bool get_cell1_tmp101_alert(void)
{
	return gpio_pin_get_dt(&cell1_tmp101_alert) == 0; // low == fault
}

bool get_cell2_tmp101_alert(void)
{
	return gpio_pin_get_dt(&cell2_tmp101_alert) == 0; // low == fault
}

int set_lt1618_enable(bool enable)
{
	return gpio_pin_configure_dt(&lt1618_enable, enable ? GPIO_OUTPUT_ACTIVE : GPIO_OUTPUT_INACTIVE);
}

board_hw_rev_t get_board_hw_rev(void)
{
	if (raw_board_rev == HW_REV_UNKNOWN) { // initialization of GPIOs failed, or was not called
		return HW_REV_1_0_0;
	}
	if (raw_board_rev == 7) { // no rev pins hooked up, so the pullups on the inputs make these all read as 1
		return HW_REV_1_0_0;
	}
	// Otherwise, use the value as a relative offset from HW_REV_1_2_0.
	// NOTE: this is different from how the hw rev lines work on the mag card. In that case, values != 7 are
	// the board rev already, and no offset is needed.
	return HW_REV_1_2_0 + (board_hw_rev_t)raw_board_rev;
}

int init_can_gpios(void)
{
	int ret;
	int err = 0;
	static bool gc_initialized = false;

	if (gc_initialized) {
		return 0;
	}
	gc_initialized = true;

	if (get_board_hw_rev() == HW_REV_1_3_0) {
		ret = gpio_pin_configure_dt(&tcan_nfault_oc, GPIO_INPUT | GPIO_PULL_UP); // goes high on fault; v1.2+ boards only
		if (ret) {
			LOG_ERR("Could not configure tcan_nfault_oc as input with pull up: %d", ret);
			err = ret;
		}
	} else if (get_board_hw_rev() == HW_REV_1_2_0) {
		ret = gpio_pin_configure_dt(&tcan_shutdown, GPIO_OUTPUT_INACTIVE); // put in non-shutdown (active) mode
		if (ret) {
			LOG_ERR("Could not configure tcan_shutdown as output inactive: %d", ret);
			err = ret;
		}
	}

	if (get_board_hw_rev() != HW_REV_1_0_0) {
		ret = gpio_pin_configure_dt(&tcan_silent, GPIO_OUTPUT_INACTIVE); // put silent in disabled (normal) mode
		if (ret) {
			LOG_ERR("Could not configure tcan_silent as output inactive: %d", ret);
			err = ret;
		}
	}

	return err;
}

int set_can_silent(void)
{
	if (get_board_hw_rev() != HW_REV_1_0_0) {
		return gpio_pin_configure_dt(&tcan_silent, GPIO_OUTPUT_ACTIVE); // drive the pin high
	}
	return 0;
}

int set_can_normal(void)
{
	if (get_board_hw_rev() != HW_REV_1_0_0) {
		return gpio_pin_configure_dt(&tcan_silent, GPIO_OUTPUT_INACTIVE); // drive the pin low
	}
	return 0;
}

bool get_can_fault(void)
{
	if (get_board_hw_rev() == HW_REV_1_3_0) {
		return gpio_pin_get_dt(&tcan_nfault_oc) != 0; // high == fault
	}
	return false;
}

int set_can_shutdown(void)
{
	if (get_board_hw_rev() == HW_REV_1_2_0) {
		return gpio_pin_configure_dt(&tcan_shutdown, GPIO_OUTPUT_ACTIVE); // drive the pin high
	}
	return 0;
}

int set_can_active(void)
{
	if (get_board_hw_rev() == HW_REV_1_2_0) {
		return gpio_pin_configure_dt(&tcan_shutdown, GPIO_OUTPUT_INACTIVE); // drive the pin low
	}
	return 0;
}
```

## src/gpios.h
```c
#ifndef _GPIOS_H_
#define _GPIOS_H_

typedef enum {
	HW_REV_UNKNOWN = -1,	// board revision 1.0.0
	HW_REV_1_0_0 = 0,	// board revision 1.0.0
	HW_REV_1_1_0 = 1,	// board revision 1.1.0 -- we cannot distinguish this from 0.0.0 automatically
	HW_REV_1_2_0 = 2	// board revision 1.2.0
} board_hw_rev_t;

/**
 * @brief Initialize general gpios
 *
 * This initializes GPIOs that most modules care about.
 *
 * @return int - nonzero value if any GPIO pin could not be
 *  	   successfully configured, 0 otherwise.
 */
int init_gpios(void);

/**
 * @brief Initialize CAN gpios
 *
 * This initializes GPIOs specific to CAN.
 *
 * @return int - nonzero value if any GPIO pin could not be
 *  	   successfully configured, 0 otherwise.
 */
int init_can_gpios(void);

board_hw_rev_t get_board_hw_rev(void);

int set_can_silent(void);

int set_can_normal(void);

bool get_can_fault(void);

bool get_ina226_alert(void);

bool get_cell1_tmp101_alert(void);

bool get_cell2_tmp101_alert(void);

int set_lt1618_enable(bool enable);

#endif
```

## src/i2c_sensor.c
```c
/**
 * i2c_sensor.c
 *
 * Original code came from zephyr/samples/sensor/bme280.
 *
 * Modified slightly to run as a thread and use logging.
 */
#include <stdio.h>
#include <zephyr/kernel.h>
#include <zephyr/sys/printk.h>
#include <zephyr/sys/__assert.h>

#include <zephyr/device.h>
#include <zephyr/devicetree.h>
#include <zephyr/drivers/sensor.h>
#include <zephyr/drivers/sensor_data_types.h>
#include <zephyr/rtio/rtio.h>
#include <zephyr/logging/log.h>

LOG_MODULE_REGISTER(oresat_i2c_sensors, CONFIG_I2C_LOG_LEVEL);

/* size of stack area used by each thread */
#define STACKSIZE 1024

/* scheduling priority used by each thread */
#define PRIORITY 7

static const struct device *const ina = DEVICE_DT_GET_ONE(ti_ina226);
static const struct device *tmp1;
static const struct device *tmp2;

static int init_ina226(void)
{
	LOG_INF("Starting INA226 reading");

	while (!device_is_ready(ina)) {
		LOG_ERR("Device %s is not ready.", ina->name);
		//return -ENODEV;
	}
	return 0;
}

static int handle_ina226(void)
{
	struct sensor_value v_bus;
	struct sensor_value power;
	struct sensor_value current;
	int rc;

	rc = sensor_sample_fetch(ina);
	if (rc) {
		LOG_ERR("Could not fetch sensor data: %d", rc);
	} else {
		sensor_channel_get(ina, SENSOR_CHAN_VOLTAGE, &v_bus);
		sensor_channel_get(ina, SENSOR_CHAN_POWER, &power);
		sensor_channel_get(ina, SENSOR_CHAN_CURRENT, &current);

		LOG_INF("Bus: %f [V] -- "
			   "Power: %f [W] -- "
			   "Current: %f [A]\n",
			   sensor_value_to_double(&v_bus),
			   sensor_value_to_double(&power),
			   sensor_value_to_double(&current));
	}
	return rc;
}

static int init_tmp101(void)
{
	LOG_INF("Starting TMP101 reading");

	tmp1 = DEVICE_DT_GET(DT_NODELABEL(tmp101_cell1));
	tmp2 = DEVICE_DT_GET(DT_NODELABEL(tmp101_cell2));

	if (!tmp1 || !tmp2) {
		LOG_ERR("Tmp108 devices not found");
		return -ENODEV;
	}

	if (!device_is_ready(tmp1) || !device_is_ready(tmp2)) {
		LOG_ERR("tmp101 devices not ready");
		return -ENODEV;
	}

#if 0
	sensor_attr_set(tmp1,
			SENSOR_CHAN_AMBIENT_TEMP,
			SENSOR_ATTR_TMP101_CONTINUOUS_CONVERSION_MODE,
			NULL);

#if CONFIG_APP_ENABLE_ONE_SHOT
	enable_one_shot(tmp1);
#endif

#if CONFIG_APP_REPORT_TEMP_ALERTS
	enable_temp_alerts(tmp1);
#endif
#endif

	return 0;
}

int get_temperature_continuous(const struct device *tmp101)
{

	struct sensor_value temp_value;
	const struct device_dt_nodelabels *labels = device_get_dt_nodelabels(tmp101);
	const char *label;
	int rc;

	if (labels && labels->num_nodelabels) {
		label = labels->nodelabels[0];
	} else {
		label = "unk";
	}

	rc = sensor_channel_get(tmp101,
					SENSOR_CHAN_AMBIENT_TEMP,
					&temp_value);

	if (rc) {
		LOG_ERR("Sensor_channel_get failed: %d", rc);
		return rc;
	}

	printk("temperature from %s (%s) is %gC\n", tmp101->name, label, sensor_value_to_double(&temp_value));
	return 0;
}

static int handle_tmp101(void)
{
	int rc;

	rc = sensor_sample_fetch(tmp1);
	if (rc) {
		LOG_ERR("tmp1 sensor_sample_fetch failed: %d", rc);
		return rc;
	}
	rc = sensor_sample_fetch(tmp2);
	if (rc) {
		LOG_ERR("tmp2 sensor_sample_fetch failed: %d", rc);
		return rc;
	}

#if 1 // !CONFIG_APP_ENABLE_ONE_SHOT
	get_temperature_continuous(tmp1);
	get_temperature_continuous(tmp2);
#endif
	return 0;
}

static int handle_i2c_sensors(void)
{
	int rc1;
	int rc2;

	rc1 = init_ina226();
	//rc2 = init_tmp101();
	while (true) {
		if (!rc1) {
			rc1 = handle_ina226();
		}
		//if (!rc2) {
		//	rc2 = handle_tmp101();
		//}
		k_sleep(K_MSEC(2000));
	}
	return 0;
}

K_THREAD_DEFINE(ina226_id, STACKSIZE, handle_i2c_sensors, NULL, NULL, NULL, PRIORITY, 0, 0);
```
